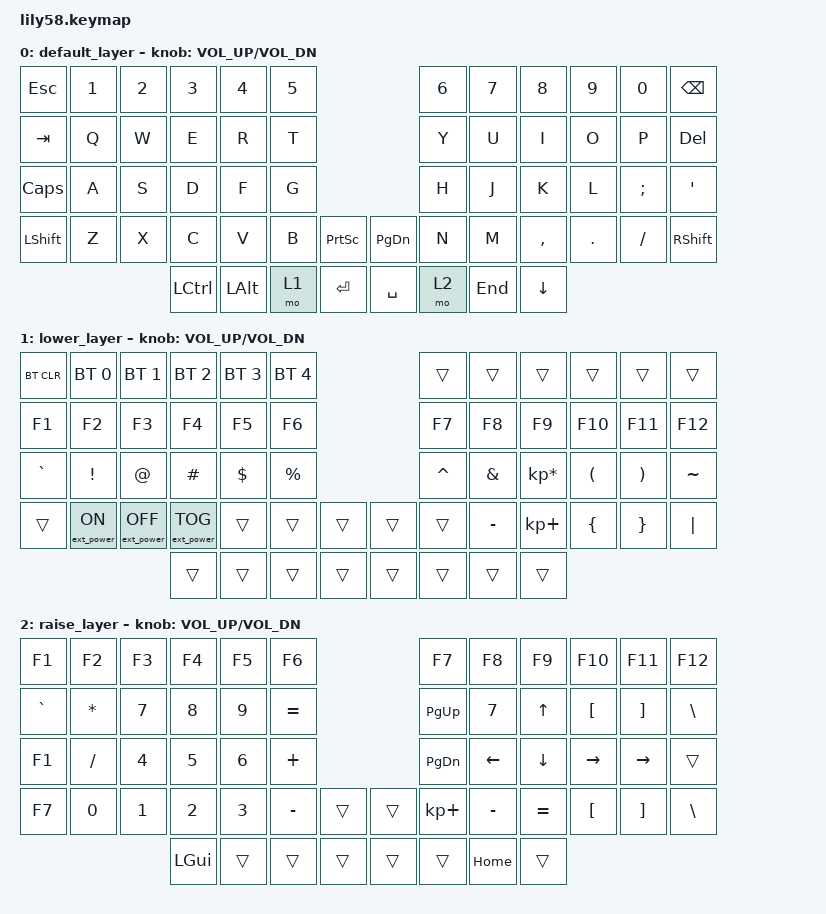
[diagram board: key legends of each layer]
/*
 * Copyright (c) 2020 The ZMK Contributors
 *
 * SPDX-License-Identifier: MIT
 */

#include <behaviors.dtsi>
#include <dt-bindings/zmk/keys.h>
#include <dt-bindings/zmk/bt.h>
#include <dt-bindings/zmk/ext_power.h>

/ {
	keymap {
		compatible = "zmk,keymap";

		default_layer {
// ------------------------------------------------------------------------------------------------------------
// |  ESC  |  1  |  2  |  3   |  4   |  5   |                      |  6   |  7    |  8    |  9   |   0   |   BS  |
// |  TAB  |  Q  |  W  |  E   |  R   |  T   |                      |  Y   |  U    |  I    |  O   |   P   |   DEL |
// |  CAPS |  A  |  S  |  D   |  F   |  G   |                      |  H   |  J    |  K    |  L   |   ;   |   '   |
// | SHIFT |  Z  |  X  |  C   |  V   |  B   |   PSCRN  |  |  PGDN  |  N   |  M    |  ,    |  .   |   /   | SHIFT |
//                     | CTRL | ALT  | LOWER|   RET  |  | SPACE  | RAISE| END   | DOWN  |
			bindings = <
&kp ESC   &kp N1 &kp N2 &kp N3   &kp N4   &kp N5                       &kp N6 &kp N7   &kp N8    &kp N9  &kp N0   &kp BACKSPACE
&kp TAB   &kp Q  &kp W  &kp E    &kp R    &kp T                        &kp Y  &kp U    &kp I     &kp O   &kp P    &kp DEL
&kp CAPS  &kp A  &kp S  &kp D    &kp F    &kp G                        &kp H  &kp J    &kp K     &kp L   &kp SEMI &kp SQT
&kp LSHFT &kp Z  &kp X  &kp C    &kp V    &kp B  &kp PSCRN   &kp PG_DN &kp N  &kp M    &kp COMMA &kp DOT &kp FSLH &kp RSHFT
                        &kp LCTRL &kp LALT &mo 1 &kp RET   &kp SPACE   &mo 2  &kp END &kp DOWN
			>;

			sensor-bindings = <&inc_dec_kp C_VOL_UP C_VOL_DN>;
		};

		lower_layer {
// ------------------------------------------------------------------------------------------------------------
// | BTCLR | BT1 | BT2 |  BT3 |  BT4 |  BT5 |                   |      |       |       |      |       |       |
// |  F1   |  F2 |  F3 |  F4  |  F5  |  F6  |                   |  F7  |  F8   |  F9   |  F10 |  F11  |  F12  |
// |   `   |  !  |  @  |  #   |  $   |  %   |                   |  ^   |  &    |  *    |  (   |   )   |   ~   |
// |       |     |     |      |      |      |        |  |       |      |  _    |  +    |  {   |   }   |  "|"  |
//                     |      |      |      |        |  |       |      |       |       |
			bindings = <
&bt BT_CLR &bt BT_SEL 0     &bt BT_SEL 1      &bt BT_SEL 2      &bt BT_SEL 3 &bt BT_SEL 4                 &trans    &trans    &trans          &trans    &trans    &trans
&kp F1     &kp F2           &kp F3            &kp F4            &kp F5       &kp F6                       &kp F7    &kp F8    &kp F9          &kp F10   &kp F11   &kp F12
&kp GRAVE  &kp EXCL         &kp AT            &kp HASH          &kp DOLLAR   &kp PRCNT                    &kp CARET &kp AMPS  &kp KP_MULTIPLY &kp LPAR  &kp RPAR  &kp TILDE
&trans     &ext_power EP_ON &ext_power EP_OFF &ext_power EP_TOG &trans       &trans    &trans   &trans    &trans    &kp MINUS &kp KP_PLUS     &kp LBRC  &kp RBRC  &kp PIPE
                                              &trans            &trans       &trans    &trans   &trans    &trans    &trans    &trans
			>;

			sensor-bindings = <&inc_dec_kp C_VOL_UP C_VOL_DN>;
		};

		raise_layer {
// ------------------------------------------------------------------------------------------------------------
// |   F1  |  F2 |  F3 |  F4  |  F5  |  F6  |                   |   F7  |  F8   |  F9   |  F10 |  F11  |  F12  |
// |   `   |  *  |  7  |  8   |  9   |  =   |                   | PG UP |   7   |   ^   |  [   |   ]   |   \   |
// |   F1  |  /  |  4  |  5   |  6   |  +   |                   | PG DN |   <-  |   v   |  ->  |  ->   |       |
// |   F7  |  0  |  1  |  2   |  3   |  -   |        |  |       |   +   |   -   |   =   |  [   |   ]   |   \   |
//                     | GUI  |      |      |        |  |       |       |       |       |
			bindings = <
&kp F1    &kp F2    &kp F3 &kp F4  &kp F5  &kp F6                          &kp F7         &kp F8    &kp F9    &kp F10    &kp F11    &kp F12
&kp GRAVE &kp STAR  &kp N7 &kp N8  &kp N9  &kp EQUAL                       &kp PG_UP      &kp N7    &kp UP    &kp LBKT   &kp RBKT   &kp BSLH
&kp F1    &kp SLASH &kp N4 &kp N5  &kp N6  &kp PLUS                        &kp PG_DN      &kp LEFT  &kp DOWN  &kp RIGHT  &kp RIGHT  &trans
&kp F7    &kp N0    &kp N1 &kp N2  &kp N3  &kp MINUS   &trans   &trans     &kp KP_PLUS    &kp MINUS &kp EQUAL &kp LBKT   &kp RBKT   &kp BSLH
                           &kp LGUI  &trans  &trans    &trans   &trans     &trans         &kp HOME    &trans
			>;

			sensor-bindings = <&inc_dec_kp C_VOL_UP C_VOL_DN>;
		};
	};
};
